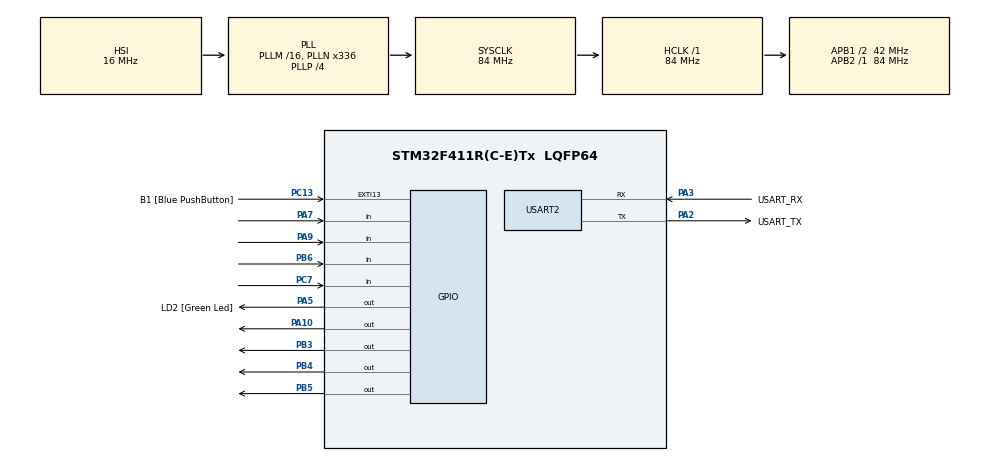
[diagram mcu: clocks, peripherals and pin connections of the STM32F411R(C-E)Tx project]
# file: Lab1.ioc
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Mcu.Family=STM32F4
Mcu.Name=STM32F411R(C-E)Tx
Mcu.Package=LQFP64
NVIC.PriorityGroup=NVIC_PRIORITYGROUP_0
PA10.GPIO_ModeDefaultOutputPP=GPIO_MODE_OUTPUT_OD
PA10.GPIO_PuPd=GPIO_NOPULL
PA10.Signal=GPIO_Output
PA13.GPIO_Label=TMS
PA13.Mode=Serial_Wire
PA13.Signal=SYS_JTMS-SWDIO
PA14.GPIO_Label=TCK
PA14.Mode=Serial_Wire
PA14.Signal=SYS_JTCK-SWCLK
PA2.GPIO_Label=USART_TX
PA2.Mode=Asynchronous
PA2.Signal=USART2_TX
PA3.GPIO_Label=USART_RX
PA3.Mode=Asynchronous
PA3.Signal=USART2_RX
PA5.GPIO_Label=LD2 [Green Led]
PA5.Signal=GPIO_Output
PA7.GPIO_PuPd=GPIO_PULLUP
PA7.Signal=GPIO_Input
PA9.GPIO_PuPd=GPIO_PULLUP
PA9.Signal=GPIO_Input
PB3.GPIO_ModeDefaultOutputPP=GPIO_MODE_OUTPUT_OD
PB3.GPIO_PuPd=GPIO_NOPULL
PB3.Signal=GPIO_Output
PB4.GPIO_ModeDefaultOutputPP=GPIO_MODE_OUTPUT_OD
PB4.GPIO_PuPd=GPIO_NOPULL
PB4.Signal=GPIO_Output
PB5.GPIO_ModeDefaultOutputPP=GPIO_MODE_OUTPUT_OD
PB5.GPIO_PuPd=GPIO_NOPULL
PB5.Signal=GPIO_Output
PB6.GPIO_PuPd=GPIO_PULLUP
PB6.Signal=GPIO_Input
PC13-ANTI_TAMP.GPIO_Label=B1 [Blue PushButton]
PC13-ANTI_TAMP.GPIO_ModeDefaultEXTI=GPIO_MODE_IT_FALLING
PC13-ANTI_TAMP.Signal=GPXTI13
PC14-OSC32_IN.Mode=LSE-External-Oscillator
PC14-OSC32_IN.Signal=RCC_OSC32_IN
PC15-OSC32_OUT.Mode=LSE-External-Oscillator
PC15-OSC32_OUT.Signal=RCC_OSC32_OUT
PC7.GPIO_PuPd=GPIO_PULLUP
PC7.Signal=GPIO_Input
PH0\ -\ OSC_IN.Mode=HSE-External-Clock-Source
PH0\ -\ OSC_IN.Signal=RCC_OSC_IN
PH1\ -\ OSC_OUT.Mode=HSE-External-Clock-Source
PH1\ -\ OSC_OUT.Signal=RCC_OSC_OUT
ProjectManager.HeapSize=0x200
ProjectManager.StackSize=0x400
ProjectManager.TargetToolchain=STM32CubeIDE
RCC.48MHZClocksFreq_Value=84000000
RCC.AHBFreq_Value=84000000
RCC.APB1CLKDivider=RCC_HCLK_DIV2
RCC.APB1Freq_Value=42000000
RCC.APB1TimFreq_Value=84000000
RCC.APB2Freq_Value=84000000
RCC.APB2TimFreq_Value=84000000
RCC.CortexFreq_Value=84000000
RCC.FLatency-AdvancedSettings=FLASH_LATENCY_2
RCC.HCLKFreq_Value=84000000
RCC.HSE_VALUE=8000000
RCC.HSI_VALUE=16000000
RCC.PLLN=336
RCC.PLLP=RCC_PLLP_DIV4
RCC.SYSCLKFreq_VALUE=84000000
RCC.SYSCLKSource=RCC_SYSCLKSOURCE_PLLCLK
RCC.VCOOutputFreq_Value=336000000
USART2.VirtualMode=VM_ASYNC
board=NUCLEO-F411RE

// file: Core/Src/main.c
/* USER CODE BEGIN Header */
/**
  ******************************************************************************
  * @file           : main.c
  * @brief          : Main program body
  ******************************************************************************
  * @attention
  *
  * Copyright (c) 2023 STMicroelectronics.
  * All rights reserved.
  *
  * This software is licensed under terms that can be found in the LICENSE file
  * in the root directory of this software component.
  * If no LICENSE file comes with this software, it is provided AS-IS.
  *
  ******************************************************************************
  */
/* USER CODE END Header */
#include "main.h"

/* USER CODE BEGIN Includes */
// Anchisa Piriyakrit 56
/* USER CODE END Includes */

UART_HandleTypeDef huart2;

/* USER CODE BEGIN PV */
//create struct protpin
typedef struct {
	GPIO_TypeDef* PORT;
	uint16_t PIN;
}PortPin;

PortPin R[4] =
{
		{GPIOA,GPIO_PIN_10},
		{GPIOB,GPIO_PIN_3},
		{GPIOB,GPIO_PIN_5},
		{GPIOB,GPIO_PIN_4}
};

PortPin L[4] =
{
		{GPIOA,GPIO_PIN_9},
		{GPIOC,GPIO_PIN_7},
		{GPIOB,GPIO_PIN_6},
		{GPIOA,GPIO_PIN_7}
};

uint16_t ButtonMatrix = 0;  //keep all the buttons globle
uint16_t buttonCheck = 0;
int state = 0;
/* USER CODE END PV */

void SystemClock_Config(void);
static void MX_GPIO_Init(void);
static void MX_USART2_UART_Init(void);
/* USER CODE BEGIN PFP */
void ReadMatrixButton_1Row();
/* USER CODE END PFP */

int main(void)
{

  /* MCU Configuration--------------------------------------------------------*/

  /* Reset of all peripherals, Initializes the Flash interface and the Systick. */
  HAL_Init();

  /* Configure the system clock */
  SystemClock_Config();

  /* Initialize all configured peripherals */
  MX_GPIO_Init();
  MX_USART2_UART_Init();

  /* Infinite loop */
  while (1)
  {

    /* USER CODE BEGIN 3 */
	  static uint32_t timestamp = 0;
	  // 100 time per 1 second || 1 time per second = 1/100 = 0.01 s = 10 ms
	  if(HAL_GetTick() > timestamp)
	  {
		  timestamp = HAL_GetTick() + 10; // +10 ms
		  ReadMatrixButton_1Row();
	  }
	  switch(state)
	  {
	  case 0:
		  HAL_GPIO_WritePin(GPIOA, GPIO_PIN_5, 0);
		  if(ButtonMatrix == 512 && buttonCheck == 0) //6
	  {
		  state = 1;
	  }
	  else if(ButtonMatrix != 0 &&buttonCheck == 0)
	  {
		  state = 13;
	  }
	  break;

	  case 1: if(ButtonMatrix == 2 && buttonCheck == 0){ //4
		  state = 2;
	  }
	  else if(ButtonMatrix != 0 &&buttonCheck == 0)
	 	  {
	 		  state = 13;
	 	  }
	  		  break;
	  case 2:if(ButtonMatrix == 1024 && buttonCheck == 0){ //3
		  state = 3;
	  }
	  else if(ButtonMatrix != 0 && buttonCheck == 0)
	 	  {
	 		  state = 13;
	 	  }break;
	  case 3:if(ButtonMatrix == 2 && buttonCheck == 0){ //4
	  		  state = 4;
	  	  }
	  	  else if(ButtonMatrix != 0 && buttonCheck == 0)
	  	 	  {
	  	 		  state = 13;
	  	 	  }break;
	  case 4:if(ButtonMatrix == 8 && buttonCheck == 0){ //0
	  		  state = 5;
	  	  }
	  	  else if(ButtonMatrix != 0 && buttonCheck == 0)
	  	 	  {
	  	 		  state = 13;
	  	 	  }break;
	  case 5:if(ButtonMatrix == 32 && buttonCheck == 0){ //5
	  		  state = 6;
	  	  }
	  	  else if(ButtonMatrix != 0 && buttonCheck == 0)
	  	 	  {
	  	 		  state = 13;
	  	 	  }break;
	  case 6:if(ButtonMatrix == 8 && buttonCheck == 0){ //0
	  		  state = 7;
	  	  }
	  	  else if(ButtonMatrix != 0 && buttonCheck == 0)
	  	 	  {
	  	 		  state = 13;
	  	 	  }break;
	  case 7:if(ButtonMatrix == 8 && buttonCheck == 0){ //0
	  	  		  state = 8;
	  	  	  }
	  	  	  else if(ButtonMatrix != 0 && buttonCheck == 0)
	  	  	 	  {
	  	  	 		  state = 13;
	  	  	 	  }break;
	  case 8:if(ButtonMatrix == 8 && buttonCheck == 0){ //0
	  	  		  state = 9;
	  	  	  }
	  	  	  else if(ButtonMatrix != 0 && buttonCheck == 0)
	  	  	 	  {
	  	  	 		  state = 13;
	  	  	 	  }break;
	  case 9:if(ButtonMatrix == 32 && buttonCheck == 0){ //5
	  	  		  state = 10;
	  	  	  }
	  	  	  else if(ButtonMatrix != 0 && buttonCheck == 0)
	  	  	 	  {
	  	  	 		  state = 13;
	  	  	 	  }break;
	  case 10:if(ButtonMatrix == 512 && buttonCheck == 0){ //6
	  	  		  state = 11;
	  	  	  }
	  	  	  else if(ButtonMatrix != 0 && buttonCheck == 0)
	  	  	 	  {
	  	  	 		  state = 13;
	  	  	 	  }break;
	  case 11:if(ButtonMatrix == 32768 && buttonCheck == 0){ //ok
	  	  		  state = 11;
	  	  		  //led
	  	  		  HAL_GPIO_WritePin(GPIOA, GPIO_PIN_5, 1);
	  	  	  }
	  	  	  else if(ButtonMatrix != 0 && buttonCheck == 0)
	  	  	 	  {
	  	  	 		  state = 13;
	  	  	 	  }break;
	  case 12:if(ButtonMatrix == 4096 && buttonCheck == 0){ //clear
	  	  		  state = 0;
	  	  	  }
	  	  	  else if(ButtonMatrix != 0 && buttonCheck == 0)
	  	  	 	  {
	  	  	 		  state = 13;
	  	  	 	  }break;
	  case 13:if(ButtonMatrix == 4096 && buttonCheck == 0){ //loop
	  	  		  state = 0;
	  	  	  }
	  	  	  else if(ButtonMatrix != 0 && buttonCheck == 0)
	  	  	 	  {
	  	  	 		  state = 13;
	  	  	 	  }break;

	  }
	  buttonCheck = ButtonMatrix;

  }
  /* USER CODE END 3 */
}

void SystemClock_Config(void)
{
  RCC_OscInitTypeDef RCC_OscInitStruct = {0};
  RCC_ClkInitTypeDef RCC_ClkInitStruct = {0};

  /** Configure the main internal regulator output voltage
  */
  __HAL_RCC_PWR_CLK_ENABLE();
  __HAL_PWR_VOLTAGESCALING_CONFIG(PWR_REGULATOR_VOLTAGE_SCALE1);

  /** Initializes the RCC Oscillators according to the specified parameters
  * in the RCC_OscInitTypeDef structure.
  */
  RCC_OscInitStruct.OscillatorType = RCC_OSCILLATORTYPE_HSI;
  RCC_OscInitStruct.HSIState = RCC_HSI_ON;
  RCC_OscInitStruct.HSICalibrationValue = RCC_HSICALIBRATION_DEFAULT;
  RCC_OscInitStruct.PLL.PLLState = RCC_PLL_ON;
  RCC_OscInitStruct.PLL.PLLSource = RCC_PLLSOURCE_HSI;
  RCC_OscInitStruct.PLL.PLLM = 16;
  RCC_OscInitStruct.PLL.PLLN = 336;
  RCC_OscInitStruct.PLL.PLLP = RCC_PLLP_DIV4;
  RCC_OscInitStruct.PLL.PLLQ = 4;
  if (HAL_RCC_OscConfig(&RCC_OscInitStruct) != HAL_OK)
  {
    Error_Handler();
  }

  /** Initializes the CPU, AHB and APB buses clocks
  */
  RCC_ClkInitStruct.ClockType = RCC_CLOCKTYPE_HCLK|RCC_CLOCKTYPE_SYSCLK
                              |RCC_CLOCKTYPE_PCLK1|RCC_CLOCKTYPE_PCLK2;
  RCC_ClkInitStruct.SYSCLKSource = RCC_SYSCLKSOURCE_PLLCLK;
  RCC_ClkInitStruct.AHBCLKDivider = RCC_SYSCLK_DIV1;
  RCC_ClkInitStruct.APB1CLKDivider = RCC_HCLK_DIV2;
  RCC_ClkInitStruct.APB2CLKDivider = RCC_HCLK_DIV1;

  if (HAL_RCC_ClockConfig(&RCC_ClkInitStruct, FLASH_LATENCY_2) != HAL_OK)
  {
    Error_Handler();
  }
}

static void MX_USART2_UART_Init(void)
{

  huart2.Instance = USART2;
  huart2.Init.BaudRate = 115200;
  huart2.Init.WordLength = UART_WORDLENGTH_8B;
  huart2.Init.StopBits = UART_STOPBITS_1;
  huart2.Init.Parity = UART_PARITY_NONE;
  huart2.Init.Mode = UART_MODE_TX_RX;
  huart2.Init.HwFlowCtl = UART_HWCONTROL_NONE;
  huart2.Init.OverSampling = UART_OVERSAMPLING_16;
  if (HAL_UART_Init(&huart2) != HAL_OK)
  {
    Error_Handler();
  }

}

static void MX_GPIO_Init(void)
{
  GPIO_InitTypeDef GPIO_InitStruct = {0};

  /* GPIO Ports Clock Enable */
  __HAL_RCC_GPIOC_CLK_ENABLE();
  __HAL_RCC_GPIOH_CLK_ENABLE();
  __HAL_RCC_GPIOA_CLK_ENABLE();
  __HAL_RCC_GPIOB_CLK_ENABLE();

  /*Configure GPIO pin Output Level */
  HAL_GPIO_WritePin(GPIOA, LD2_Pin|GPIO_PIN_10, GPIO_PIN_RESET);

  /*Configure GPIO pin Output Level */
  HAL_GPIO_WritePin(GPIOB, GPIO_PIN_3|GPIO_PIN_4|GPIO_PIN_5, GPIO_PIN_RESET);

  /*Configure GPIO pin : B1_Pin */
  GPIO_InitStruct.Pin = B1_Pin;
  GPIO_InitStruct.Mode = GPIO_MODE_IT_FALLING;
  GPIO_InitStruct.Pull = GPIO_NOPULL;
  HAL_GPIO_Init(B1_GPIO_Port, &GPIO_InitStruct);

  /*Configure GPIO pin : LD2_Pin */
  GPIO_InitStruct.Pin = LD2_Pin;
  GPIO_InitStruct.Mode = GPIO_MODE_OUTPUT_PP;
  GPIO_InitStruct.Pull = GPIO_NOPULL;
  GPIO_InitStruct.Speed = GPIO_SPEED_FREQ_LOW;
  HAL_GPIO_Init(LD2_GPIO_Port, &GPIO_InitStruct);

  /*Configure GPIO pins : PA7 PA9 */
  GPIO_InitStruct.Pin = GPIO_PIN_7|GPIO_PIN_9;
  GPIO_InitStruct.Mode = GPIO_MODE_INPUT;
  GPIO_InitStruct.Pull = GPIO_PULLUP;
  HAL_GPIO_Init(GPIOA, &GPIO_InitStruct);

  /*Configure GPIO pin : PC7 */
  GPIO_InitStruct.Pin = GPIO_PIN_7;
  GPIO_InitStruct.Mode = GPIO_MODE_INPUT;
  GPIO_InitStruct.Pull = GPIO_PULLUP;
  HAL_GPIO_Init(GPIOC, &GPIO_InitStruct);

  /*Configure GPIO pin : PA10 */
  GPIO_InitStruct.Pin = GPIO_PIN_10;
  GPIO_InitStruct.Mode = GPIO_MODE_OUTPUT_OD;
  GPIO_InitStruct.Pull = GPIO_NOPULL;
  GPIO_InitStruct.Speed = GPIO_SPEED_FREQ_LOW;
  HAL_GPIO_Init(GPIOA, &GPIO_InitStruct);

  /*Configure GPIO pins : PB3 PB4 PB5 */
  GPIO_InitStruct.Pin = GPIO_PIN_3|GPIO_PIN_4|GPIO_PIN_5;
  GPIO_InitStruct.Mode = GPIO_MODE_OUTPUT_OD;
  GPIO_InitStruct.Pull = GPIO_NOPULL;
  GPIO_InitStruct.Speed = GPIO_SPEED_FREQ_LOW;
  HAL_GPIO_Init(GPIOB, &GPIO_InitStruct);

  /*Configure GPIO pin : PB6 */
  GPIO_InitStruct.Pin = GPIO_PIN_6;
  GPIO_InitStruct.Mode = GPIO_MODE_INPUT;
  GPIO_InitStruct.Pull = GPIO_PULLUP;
  HAL_GPIO_Init(GPIOB, &GPIO_InitStruct);

}

/* USER CODE BEGIN 4 */
void ReadMatrixButton_1Row() {
    static uint8_t X = 0;
    register int i; //resgis var in CPU register (it just faster to read)
    //check row (first time anything will pass because all R[X] set as high. it can start row check at the second time by set R[1] as low )
    for (i = 0; i < 4; i++) {
        if (HAL_GPIO_ReadPin(L[i].PORT, L[i].PIN)) {
            ButtonMatrix &= ~(1 << (X * 4 + i));
            //i = 0 x = 0
            //~(1 << (0*4 + 0))
            //~0b0000000000000001
            // 0b1111111111111110 & ButtonMatrix
            //=0b***************0
            //if noting change (doesn't pass button) ButtonMatrix will always 0b0000000000000000 by this step
            //it do right to left repeat
        } else {
            ButtonMatrix |= 1 << (X * 4 + i);

            //i = 0 x = 0
            //(1 <<(shift) (0*4 + 0))
            // 0b0000000000000001
            // 0b0000000000000001 | ButtonMatrix
            //=0b***************1
            //if button is passed ButtonMatrix will get 1 to some bit by this step.
            //it can have double 1 in some bit like 0b0001000000001000 but for human response it hard to be like that (it check and shift bit every 10 ms.)
        }
    }
    //change column
    HAL_GPIO_WritePin(R[X].PORT, R[X].PIN, 1); //reset R[x] to 1 Floating
    HAL_GPIO_WritePin(R[(X + 1) % 4].PORT, R[(X + 1) % 4].PIN, 0); //Let R[X] to 0 by column (x start at 0 if it check all L[i] then do next column)
    X++; // because 1 set of i plus 1 to x
    X %= 4; // if X = 4 then x = 0
    /*---------------------------------STEP of Work---------------------------------------
     1. check row of column x (form i = 0 to i = 3)
     2. reset column x (R[x]) to high
     3. set next column R[x+1] to low *if x = 4 then x = 0
     repeat...
    */
}
/* USER CODE END 4 */

void Error_Handler(void)
{
  __disable_irq();
  while (1)
  {
  }
}
